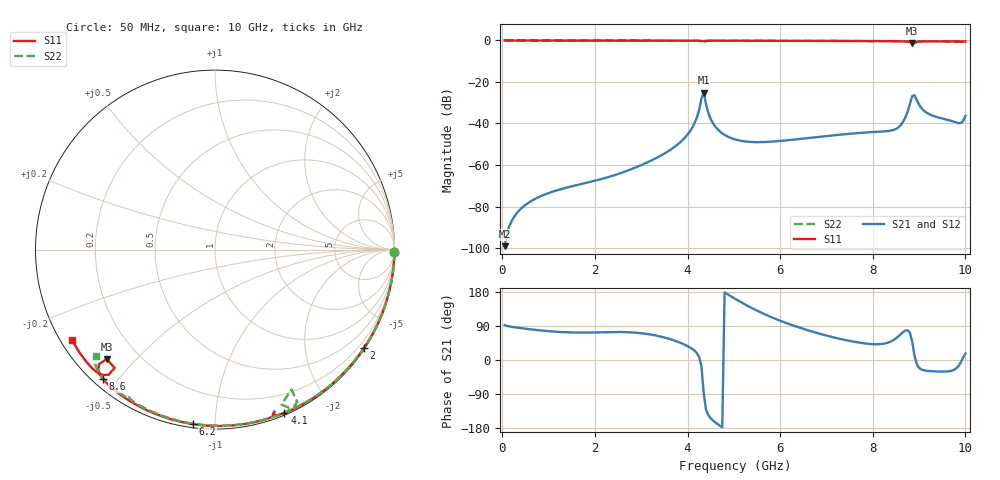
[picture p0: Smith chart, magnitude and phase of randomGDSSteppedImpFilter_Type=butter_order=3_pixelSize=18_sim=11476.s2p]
! freq	dB(S11)	phase(S11)	dB(S12)	phase(S12)
!  dB(S21)	phase(S21)	dB(S22)	phase(S22)
!S-par simulation data
#  GHz  S  DB  R 50
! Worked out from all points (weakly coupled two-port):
!   200 points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, 50 MHz to 10 GHz, reference 50 ohm
!   highest |S21| = -25.08 dB at 4.35 GHz (marker M1); lowest = -99.1 dB at 50 MHz (marker M2)
!   lowest |S11| = -1.3 dB at 8.85 GHz (marker M3), VSWR 13.00, Z = 4.51 - j20.7 ohm
!   |S11| at or under -10 dB: nowhere
!   |S22| runs from -1.0 to 0.0 dB; largest |S21 - S12| = 0
!   S11 on the Smith chart (normalised r, x): 50 MHz: open; 2 GHz: 0.03, -3.32; 4.1 GHz: 0.02, -1.51; 6.2 GHz: 0.02, -0.88; 8.6 GHz: 0.03, -0.46; 10 GHz: 0.03, -0.29
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0.05  -0.00 -0.9  -99.10 92.1  -99.10 92.1  -0.00 -0.8
0.45  -0.01 -7.7  -80.11 83.3  -80.11 83.3  -0.01 -6.9
0.95  -0.02 -16.1  -73.92 76.6  -73.92 76.6  -0.02 -14.6
1.75  -0.04 -29.4  -68.95 72.3  -68.95 72.3  -0.03 -26.6
2  -0.04 -33.6  -67.58 72.8  -67.58 72.8  -0.04 -30.3
3.4  -0.07 -56.0  -55.75 62.4  -55.75 62.4  -0.07 -50.8
3.85  -0.09 -63.0  -48.89 45.3  -48.89 45.3  -0.08 -57.3
4.1  -0.10 -66.9  -42.09 29.5  -42.09 29.5  -0.10 -61.3
4.2  -0.11 -68.6  -37.22 18.4  -37.22 18.4  -0.14 -63.3
4.35  -0.35 -69.9  -25.08 -88.1  -25.08 -88.1  -1.03 -61.4
4.45  -0.13 -71.5  -35.01 -145.8  -35.01 -145.8  -0.18 -63.3
4.55  -0.12 -73.2  -39.88 -159.8  -39.88 -159.8  -0.13 -65.4
5.05  -0.13 -80.7  -47.80 159.9  -47.80 159.9  -0.12 -72.9
6.2  -0.18 -97.2  -47.98 94.5  -47.98 94.5  -0.16 -88.0
6.7  -0.20 -104.1  -46.76 74.7  -46.76 74.7  -0.18 -94.3
8.35  -0.34 -126.8  -43.58 46.7  -43.58 46.7  -0.30 -114.6
8.6  -0.41 -130.8  -40.89 67.7  -40.89 67.7  -0.34 -117.6
8.7  -0.49 -132.8  -37.27 77.5  -37.27 77.5  -0.36 -118.9
8.85  -1.34 -134.7  -26.93 49.5  -26.93 49.5  -0.48 -120.4
9.3  -0.43 -137.6  -36.30 -29.8  -36.30 -29.8  -0.38 -125.9
9.85  -0.49 -145.4  -39.84 -16.2  -39.84 -16.2  -0.56 -134.4
10  -0.52 -147.5  -36.31 16.9  -36.31 16.9  -1.00 -138.3
